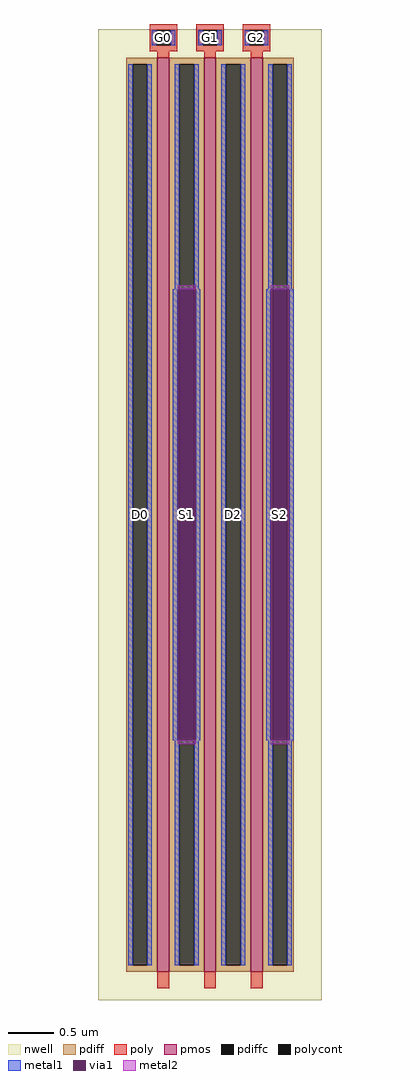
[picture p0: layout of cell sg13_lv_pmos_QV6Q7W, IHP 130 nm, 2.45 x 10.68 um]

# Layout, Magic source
magic
tech ihp-sg13g2
magscale 1 2
<< nwell >>
rect -245 -1081 245 1043
<< pmos >>
rect -115 -1019 -89 981
rect -13 -1019 13 981
rect 89 -1019 115 981
<< pdiff >>
rect -183 967 -115 981
rect -183 -1005 -169 967
rect -137 -1005 -115 967
rect -183 -1019 -115 -1005
rect -89 967 -13 981
rect -89 -1005 -67 967
rect -35 -1005 -13 967
rect -89 -1019 -13 -1005
rect 13 967 89 981
rect 13 -1005 35 967
rect 67 -1005 89 967
rect 13 -1019 89 -1005
rect 115 967 183 981
rect 115 -1005 137 967
rect 169 -1005 183 967
rect 115 -1019 183 -1005
<< pdiffc >>
rect -169 -1005 -137 967
rect -67 -1005 -35 967
rect 35 -1005 67 967
rect 137 -1005 169 967
<< poly >>
rect -132 1041 -72 1055
rect -132 1009 -118 1041
rect -86 1009 -72 1041
rect -132 995 -72 1009
rect -30 1041 30 1055
rect -30 1009 -16 1041
rect 16 1009 30 1041
rect -30 995 30 1009
rect 72 1041 132 1055
rect 72 1009 86 1041
rect 118 1009 132 1041
rect 72 995 132 1009
rect -115 981 -89 995
rect -13 981 13 995
rect 89 981 115 995
rect -115 -1055 -89 -1019
rect -13 -1055 13 -1019
rect 89 -1055 115 -1019
<< polycont >>
rect -118 1009 -86 1041
rect -16 1009 16 1041
rect 86 1009 118 1041
<< metal1 >>
rect -128 1009 -118 1041
rect -86 1009 -76 1041
rect -26 1009 -16 1041
rect 16 1009 26 1041
rect 76 1009 86 1041
rect 118 1009 128 1041
rect -179 -1005 -169 967
rect -137 -1005 -127 967
rect -77 475 -67 967
rect -81 474 -67 475
rect -35 475 -25 967
rect -35 474 -21 475
rect -81 -512 -71 474
rect -31 -512 -21 474
rect -81 -513 -67 -512
rect -77 -1005 -67 -513
rect -35 -513 -21 -512
rect -35 -1005 -25 -513
rect 25 -1005 35 967
rect 67 -1005 77 967
rect 127 475 137 967
rect 123 474 137 475
rect 169 475 179 967
rect 169 474 183 475
rect 123 -512 133 474
rect 173 -512 183 474
rect 123 -513 137 -512
rect 127 -1005 137 -513
rect 169 -513 183 -512
rect 169 -1005 179 -513
<< via1 >>
rect -71 -512 -67 474
rect -67 -512 -35 474
rect -35 -512 -31 474
rect 133 -512 137 474
rect 137 -512 169 474
rect 169 -512 173 474
<< metal2 >>
rect -71 474 -31 483
rect -71 -521 -31 -512
rect 133 474 173 483
rect 133 -521 173 -512
<< labels >>
rlabel pdiffc -153 -19 -153 -19 0 D0
port 1 nsew
rlabel polycont -102 1025 -102 1025 0 G0
port 2 nsew
rlabel pdiffc -51 -19 -51 -19 0 S1
port 3 nsew
rlabel polycont 0 1025 0 1025 0 G1
port 4 nsew
rlabel pdiffc 51 -19 51 -19 0 D2
port 5 nsew
rlabel pdiffc 153 -19 153 -19 0 S2
port 6 nsew
rlabel polycont 102 1025 102 1025 0 G2
port 7 nsew
<< properties >>
string gencell sg13_lv_pmos
string library sg13g2
string parameters w 10 l 0.13 m 1 nf 3 diffcov 100 polycov 100 guard 0 glc 1 grc 1 gtc 1 gbc 1 tbcov 100 rlcov 100 topc 1 botc 0 poverlap 0 doverlap 1 lmin 0.13 wmin 0.15 class mosfet compatible {sg13_lv_pmos sg13_hv_pmos} full_metal 1 conn_gates 0 gate_ring 0 ccols 1 viasrc 50 viadrn 0 viagate 0 viagb 0 viagr 0 viagl 0 viagt 0 doports 1
<< end >>
